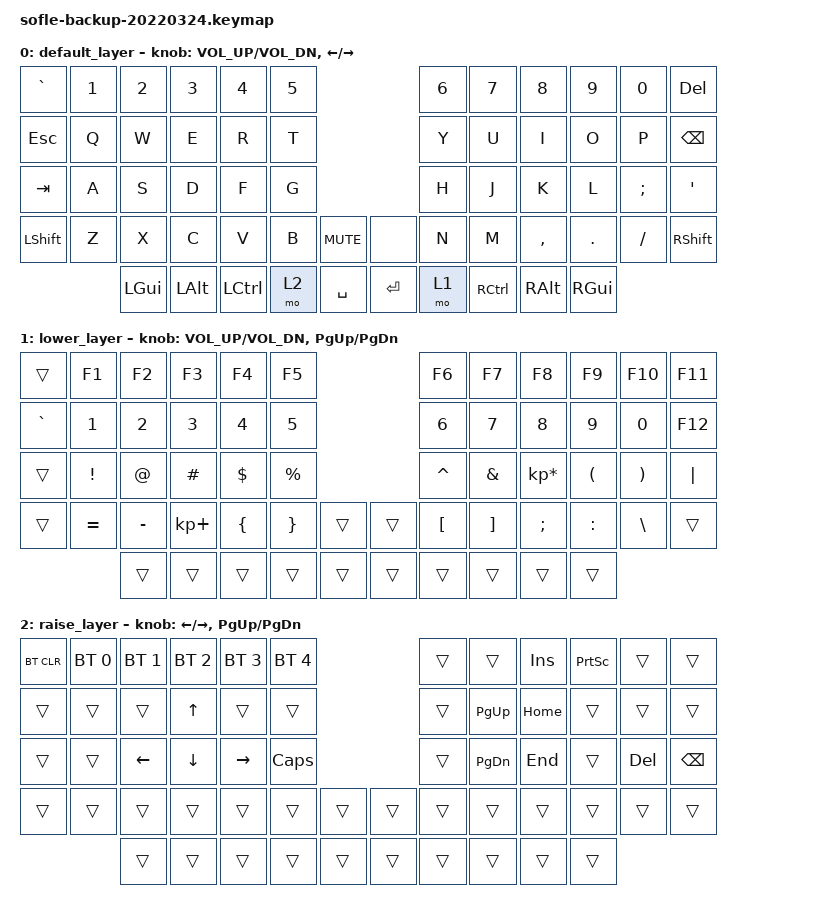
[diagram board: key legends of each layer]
/*
 * Copyright (c) 2020 The ZMK Contributors
 *
 * SPDX-License-Identifier: MIT
 */

#include <behaviors.dtsi>
#include <dt-bindings/zmk/keys.h>
#include <dt-bindings/zmk/bt.h>

/ {
    keymap {
        compatible = "zmk,keymap";

        default_layer {
// ------------------------------------------------------------------------------------------------------------
// |  `    |  1  |  2  |  3   |  4   |  5   |                   |  6   |  7    |  8    |  9   |   0   |   DEL |
// |  ESC  |  Q  |  W  |  E   |  R   |  T   |                   |  Y   |  U    |  I    |  O   |   P   | BKSPC |
// |  TAB  |  A  |  S  |  D   |  F   |  G   |                   |  H   |  J    |  K    |  L   |   ;   |   '   |
// | SHIFT |  Z  |  X  |  C   |  V   |  B   |  MUTE  |  |       |  N   |  M    |  ,    |  .   |   /   | SHIFT |
//               | GUI | ALT  | CTRL | RAISE|  SPACE |  | RET   | LOWER| CTRL  | ALT   | GUI  |
            bindings = <
&kp GRAVE &kp N1 &kp N2   &kp N3   &kp N4    &kp N5                      &kp N6 &kp N7    &kp N8    &kp N9   &kp N0   &kp DEL
&kp ESC   &kp Q  &kp W    &kp E    &kp R     &kp T                       &kp Y  &kp U     &kp I     &kp O    &kp P    &kp BSPC
&kp TAB   &kp A  &kp S    &kp D    &kp F     &kp G                       &kp H  &kp J     &kp K     &kp L    &kp SEMI &kp SQT
&kp LSHFT &kp Z  &kp X    &kp C    &kp V     &kp B  &kp C_MUTE &none     &kp N  &kp M     &kp COMMA &kp DOT  &kp FSLH &kp RSHFT
                 &kp LGUI &kp LALT &kp LCTRL &mo 2  &kp SPACE  &kp RET   &mo 1  &kp RCTRL &kp RALT  &kp RGUI
            >;

            sensor-bindings = <&inc_dec_kp C_VOL_UP C_VOL_DN &inc_dec_kp LEFT RIGHT>;
        };

        lower_layer {
// TODO: Some binds are waiting for shifted keycode support.
// ------------------------------------------------------------------------------------------------------------
// |       |  F1 |  F2 |  F3  |  F4  |  F5  |                   |  F6  |  F7   |  F8   |  F9  |  F10  |  F11  |
// | `     |   1 |   2 |   3  |   4  |   5  |                   |   6  |   7   |   8   |   9  |    0  |  F12  |
// |       |  !  |  @  |  #   |  $   |  %   |                   |  ^   |  &    |  *    |  (   |   )   |   |   |
// |       |  =  |  -  |  +   |  {   |  }   |        |  |       |  [   |  ]    |  ;    |  :   |   \   |       |
//               |     |      |      |      |        |  |       |      |       |       |      |
            bindings = <
&trans    &kp F1    &kp F2    &kp F3      &kp F4    &kp F5                    &kp F6    &kp F7   &kp F8          &kp F9    &kp F10   &kp F11
&kp GRAVE &kp N1    &kp N2    &kp N3      &kp N4    &kp N5                    &kp N6    &kp N7   &kp N8          &kp N9    &kp N0    &kp F12
&trans    &kp EXCL  &kp AT    &kp HASH    &kp DLLR  &kp PRCNT                 &kp CARET &kp AMPS &kp KP_MULTIPLY &kp LPAR  &kp RPAR  &kp PIPE
&trans    &kp EQUAL &kp MINUS &kp KP_PLUS &kp LBRC  &kp RBRC  &trans   &trans &kp LBKT  &kp RBKT &kp SEMI        &kp COLON &kp BSLH  &trans
                    &trans    &trans      &trans    &trans    &trans   &trans &trans    &trans   &trans          &trans
            >;

            sensor-bindings = <&inc_dec_kp C_VOL_UP C_VOL_DN &inc_dec_kp PG_UP PG_DN>;
        };

        raise_layer {
// ------------------------------------------------------------------------------------------------------------
// |BTCLR| BT1  | BT2  |  BT3  |  BT4  |  BT5 |                |      |      | INS   | PSCR |       |       |
// |     |      |      |   ^   |       |      |                |      | PGUP | HOME  |      |       |       |
// |     |      |  <-  |   v   |   ->  | CAPS |                |      | PGDN | END   |      |  DEL  | BKSPC |
// |     |      |      |       |       |      |      |  |      |      |      |       |      |       |       |
//              |      |       |       |      |      |  |      |      |      |       |      |
            bindings = <
&bt BT_CLR &bt BT_SEL 0 &bt BT_SEL 1 &bt BT_SEL 2 &bt BT_SEL 3 &bt BT_SEL 4             &trans    &trans    &kp INS  &kp PSCRN &trans  &trans
&trans     &trans       &trans       &kp UP       &trans       &trans                   &trans    &kp PG_UP &kp HOME &trans    &trans  &trans
&trans     &trans       &kp LEFT     &kp DOWN     &kp RIGHT    &kp CLCK                 &trans    &kp PG_DN &kp END  &trans    &kp DEL &kp BSPC
&trans     &trans       &trans       &trans       &trans       &trans  &trans   &trans  &trans    &trans    &trans   &trans    &trans  &trans
                        &trans       &trans       &trans       &trans  &trans   &trans  &trans    &trans    &trans   &trans
            >;

            sensor-bindings = <&inc_dec_kp LEFT RIGHT &inc_dec_kp PG_UP PG_DN>;
        };
    };
};
